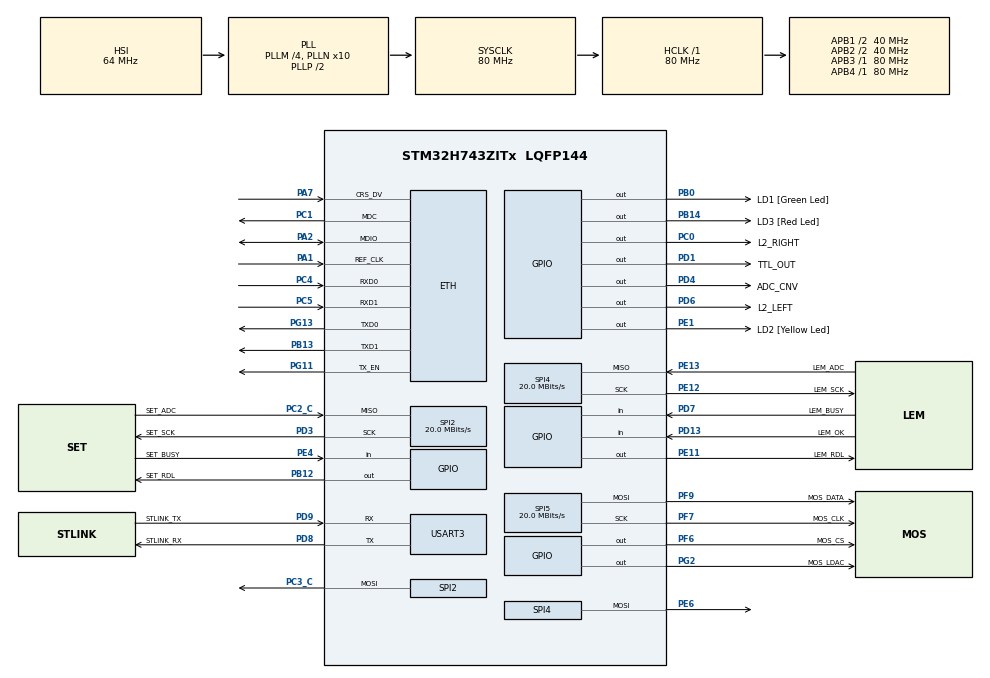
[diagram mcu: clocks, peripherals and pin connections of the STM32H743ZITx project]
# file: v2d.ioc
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CORTEX_M7.AccessPermission-Cortex_Memory_Protection_Unit_Region0_Settings=MPU_REGION_FULL_ACCESS
CORTEX_M7.AccessPermission-Cortex_Memory_Protection_Unit_Region1_Settings=MPU_REGION_FULL_ACCESS
CORTEX_M7.BaseAddress-Cortex_Memory_Protection_Unit_Region0_Settings=0x30040000
CORTEX_M7.BaseAddress-Cortex_Memory_Protection_Unit_Region1_Settings=0x30044000
CORTEX_M7.CPU_DCache=Enabled
CORTEX_M7.CPU_ICache=Enabled
CORTEX_M7.Enable-Cortex_Memory_Protection_Unit_Region0_Settings=MPU_REGION_ENABLE
CORTEX_M7.Enable-Cortex_Memory_Protection_Unit_Region1_Settings=MPU_REGION_ENABLE
CORTEX_M7.IsBufferable-Cortex_Memory_Protection_Unit_Region0_Settings=MPU_ACCESS_BUFFERABLE
CORTEX_M7.IsShareable-Cortex_Memory_Protection_Unit_Region1_Settings=MPU_ACCESS_SHAREABLE
CORTEX_M7.MPU_Control=MPU_PRIVILEGED_DEFAULT
CORTEX_M7.Size-Cortex_Memory_Protection_Unit_Region0_Settings=MPU_REGION_SIZE_256B
CORTEX_M7.Size-Cortex_Memory_Protection_Unit_Region1_Settings=MPU_REGION_SIZE_16KB
CORTEX_M7.TypeExtField-Cortex_Memory_Protection_Unit_Region1_Settings=MPU_TEX_LEVEL1
ETH.MACAddr=02\:00\:00\:00\:03\:20
ETH.MediaInterface=HAL_ETH_RMII_MODE
ETH.RxBuffAddress=0x30040200
LWIP.BSP.number=1
LWIP.GATEWAY_ADDRESS=000.000.000.000
LWIP.IP_ADDRESS=192.168.003.020
LWIP.LWIP_DHCP=0
LWIP.NETMASK_ADDRESS=255.255.255.000
LWIP.Version=v2.1.2_Cube
LWIP0.BSP.STBoard=false
LWIP0.BSP.api=BSP_COMPONENT_DRIVER
LWIP0.BSP.component=LAN8742
LWIP0.BSP.instance=LAN8742
LWIP0.BSP.name=Driver_PHY
LWIP0.BSP.solution=LAN8742
Mcu.Family=STM32H7
Mcu.Name=STM32H743ZITx
Mcu.Package=LQFP144
NVIC.ETH_IRQn=true\:5\:0\:true\:false\:true\:true\:true\:true
NVIC.PriorityGroup=NVIC_PRIORITYGROUP_4
NVIC.TIM6_DAC_IRQn=true\:15\:0\:false\:false\:true\:false\:true\:true
NVIC.TIM7_IRQn=true\:0\:0\:false\:false\:true\:true\:true\:true
NVIC.TimeBase=TIM6_DAC_IRQn
NVIC.TimeBaseIP=TIM6
PA1.GPIO_Speed=GPIO_SPEED_FREQ_HIGH
PA1.Mode=RMII
PA1.Signal=ETH_REF_CLK
PA2.GPIO_Speed=GPIO_SPEED_FREQ_HIGH
PA2.Mode=RMII
PA2.Signal=ETH_MDIO
PA7.GPIO_Speed=GPIO_SPEED_FREQ_HIGH
PA7.Mode=RMII
PA7.Signal=ETH_CRS_DV
PB0.GPIO_Label=LD1 [Green Led]
PB0.GPIO_Speed=GPIO_SPEED_FREQ_VERY_HIGH
PB0.Signal=GPIO_Output
PB12.GPIO_Label=SET_RDL
PB12.Signal=GPIO_Output
PB13.GPIO_Speed=GPIO_SPEED_FREQ_HIGH
PB13.Mode=RMII
PB13.Signal=ETH_TXD1
PB14.GPIO_Label=LD3 [Red Led]
PB14.GPIO_Speed=GPIO_SPEED_FREQ_VERY_HIGH
PB14.Signal=GPIO_Output
PC0.GPIO_Label=L2_RIGHT
PC0.Signal=GPIO_Output
PC1.GPIO_Speed=GPIO_SPEED_FREQ_HIGH
PC1.Mode=RMII
PC1.Signal=ETH_MDC
PC14-OSC32_IN\ (OSC32_IN).Mode=LSE-External-Clock-Source
PC14-OSC32_IN\ (OSC32_IN).Signal=RCC_OSC32_IN
PC2_C.GPIO_Label=SET_ADC
PC2_C.Mode=Full_Duplex_Master
PC2_C.Signal=SPI2_MISO
PC3_C.Mode=Full_Duplex_Master
PC3_C.Signal=SPI2_MOSI
PC4.GPIO_Speed=GPIO_SPEED_FREQ_HIGH
PC4.Mode=RMII
PC4.Signal=ETH_RXD0
PC5.GPIO_Speed=GPIO_SPEED_FREQ_HIGH
PC5.Mode=RMII
PC5.Signal=ETH_RXD1
PD1.GPIO_Label=TTL_OUT
PD1.Signal=GPIO_Output
PD13.GPIO_Label=LEM_OK
PD13.Signal=GPIO_Input
PD3.GPIO_Label=SET_SCK
PD3.Mode=Full_Duplex_Master
PD3.Signal=SPI2_SCK
PD4.GPIO_Label=ADC_CNV
PD4.Signal=GPIO_Output
PD6.GPIO_Label=L2_LEFT
PD6.Signal=GPIO_Output
PD7.GPIO_Label=LEM_BUSY
PD7.Signal=GPIO_Input
PD8.GPIO_Label=STLINK_RX
PD8.GPIO_Speed=GPIO_SPEED_FREQ_HIGH
PD8.Mode=Asynchronous
PD8.Signal=USART3_TX
PD9.GPIO_Label=STLINK_TX
PD9.GPIO_Speed=GPIO_SPEED_FREQ_HIGH
PD9.Mode=Asynchronous
PD9.Signal=USART3_RX
PE1.GPIO_Label=LD2 [Yellow Led]
PE1.GPIO_Speed=GPIO_SPEED_FREQ_VERY_HIGH
PE1.Signal=GPIO_Output
PE11.GPIO_Label=LEM_RDL
PE11.Signal=GPIO_Output
PE12.GPIO_Label=LEM_SCK
PE12.Mode=Full_Duplex_Master
PE12.Signal=SPI4_SCK
PE13.GPIO_Label=LEM_ADC
PE13.Mode=Full_Duplex_Master
PE13.Signal=SPI4_MISO
PE4.GPIO_Label=SET_BUSY
PE4.Signal=GPIO_Input
PE6.Mode=Full_Duplex_Master
PE6.Signal=SPI4_MOSI
PF6.GPIO_Label=MOS_CS
PF6.Signal=GPIO_Output
PF7.GPIO_Label=MOS_CLK
PF7.Mode=TX_Only_Simplex_Unidirect_Master
PF7.Signal=SPI5_SCK
PF9.GPIO_Label=MOS_DATA
PF9.Mode=TX_Only_Simplex_Unidirect_Master
PF9.Signal=SPI5_MOSI
PG11.GPIO_Speed=GPIO_SPEED_FREQ_HIGH
PG11.Mode=RMII
PG11.Signal=ETH_TX_EN
PG13.GPIO_Speed=GPIO_SPEED_FREQ_HIGH
PG13.Mode=RMII
PG13.Signal=ETH_TXD0
PG2.GPIO_Label=MOS_LDAC
PG2.Signal=GPIO_Output
PH0-OSC_IN\ (PH0).Signal=RCC_OSC_IN
ProjectManager.HeapSize=0x200
ProjectManager.StackSize=0x400
ProjectManager.TargetToolchain=STM32CubeIDE
RCC.ADCFreq_Value=150000000
RCC.APB1Freq_Value=40000000
RCC.APB2Freq_Value=40000000
RCC.APB3Freq_Value=80000000
RCC.APB4Freq_Value=80000000
RCC.CortexFreq_Value=80000000
RCC.D2PPRE1=RCC_APB1_DIV2
RCC.D2PPRE2=RCC_APB2_DIV2
RCC.DIVM1=4
RCC.DIVM2=4
RCC.DIVN1=10
RCC.DIVN2=9
RCC.DIVP2=1
RCC.HCLKFreq_Value=80000000
RCC.HSE_VALUE=8000000
RCC.PLL2FRACN=3072
RCC.PLL3FRACN=0
RCC.PLLFRACN=0
RCC.SYSCLKFreq_VALUE=80000000
RCC.SYSCLKSource=RCC_SYSCLKSOURCE_PLLCLK
RCC.USBFreq_Value=80000000
SPI2.BaudRatePrescaler=SPI_BAUDRATEPRESCALER_4
SPI2.CalculateBaudRate=20.0 MBits/s
SPI2.DataSize=SPI_DATASIZE_8BIT
SPI2.Direction=SPI_DIRECTION_2LINES
SPI2.Mode=SPI_MODE_MASTER
SPI2.VirtualType=VM_MASTER
SPI4.CalculateBaudRate=20.0 MBits/s
SPI4.DataSize=SPI_DATASIZE_8BIT
SPI4.Direction=SPI_DIRECTION_2LINES
SPI4.Mode=SPI_MODE_MASTER
SPI4.VirtualType=VM_MASTER
SPI5.CalculateBaudRate=20.0 MBits/s
SPI5.DataSize=SPI_DATASIZE_8BIT
SPI5.Direction=SPI_DIRECTION_2LINES_TXONLY
SPI5.Mode=SPI_MODE_MASTER
SPI5.VirtualType=VM_MASTER
TIM13.Prescaler=79
TIM7.Period=1000
TIM7.Prescaler=79
USART3.VirtualMode-Asynchronous=VM_ASYNC
VP_LWIP_VS_Enabled.Mode=Enabled
VP_SYS_VS_tim6.Mode=TIM6
VP_TIM13_VS_ClockSourceINT.Mode=Enable_Timer
VP_TIM7_VS_ClockSourceINT.Mode=Enable_Timer
board=NUCLEO-H743ZI2

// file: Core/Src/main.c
/* USER CODE BEGIN Header */
/**
  ******************************************************************************
  * @file           : main.c
  * @brief          : Main program body
  ******************************************************************************
  * @attention
  *
  * Copyright (c) 2022 STMicroelectronics.
  * All rights reserved.
  *
  * This software is licensed under terms that can be found in the LICENSE file
  * in the root directory of this software component.
  * If no LICENSE file comes with this software, it is provided AS-IS.
  *
  ******************************************************************************
  */
/* USER CODE END Header */
#include "main.h"
#include "lwip.h"

/* USER CODE BEGIN Includes */
//#include "lwip/sockets.h"          <----
//#include <string.h>
#include "tcpServerRAW.h"
//#include "tcpClientRAW.h"
#include "interface.h"
//#include <stdio.h>
//#include <stdlib.h>
/* USER CODE END Includes */

/* USER CODE BEGIN PD */
//#define PORT	5015          <----
/* USER CODE END PD */

SPI_HandleTypeDef hspi2;
SPI_HandleTypeDef hspi4;
SPI_HandleTypeDef hspi5;

TIM_HandleTypeDef htim7;
TIM_HandleTypeDef htim13;

UART_HandleTypeDef huart3;

/* USER CODE BEGIN PV */
//int sock, g;						<----
//struct sockaddr_in address;      <---
//err_t err = -1;					<----

char spi_buf_set[50], spi_buf_lem[50], spi_buf_mos[50];
double v_ref = 4.0;
const double LSB_ADC = (2 * 4.0)/pow(2, 24);
const uint32_t HALF_CODE = pow(2,24)/2;
const double LSB_DAC = 4.0/pow(2, 20);
double lem_v = 0;
double lem_A = 0;
double set_v = 0;
double in_set_v = 0;
double last_in_set_v = 0;
double set_A = 0;
double last_set_A = 0;
double mos_v = 0;
double err = 0;
double acc_err = 0;
double pid_out = 0;
double I = 0;

double get_adc_lem();
double get_adc_set();
double get_set_V();
double get_lem_A();
int need_change_sign = 0;
void set_dac_mos(double dac);
void send_single_adc_cnv();
void send_adc_cnvs(int n);
void SendBits(uint32_t data);
void HAL_Delay_us(uint16_t us);
uint32_t get_adc_set_raw();
uint32_t code_to_send(uint32_t);

/* USER CODE END PV */

void SystemClock_Config(void);
static void MPU_Config(void);
static void MX_GPIO_Init(void);
static void MX_USART3_UART_Init(void);
static void MX_TIM7_Init(void);
static void MX_SPI2_Init(void);
static void MX_SPI4_Init(void);
static void MX_SPI5_Init(void);
static void MX_TIM13_Init(void);

/* USER CODE BEGIN 0 */

extern struct netif gnetif;
extern parameters par;
int32_t raw;
/* USER CODE END 0 */

int main(void)
{

  /* MPU Configuration--------------------------------------------------------*/
  MPU_Config();

  /* Enable I-Cache---------------------------------------------------------*/
  SCB_EnableICache();

  /* Enable D-Cache---------------------------------------------------------*/
  SCB_EnableDCache();

  /* MCU Configuration--------------------------------------------------------*/

  /* Reset of all peripherals, Initializes the Flash interface and the Systick. */
  HAL_Init();

  /* Configure the system clock */
  SystemClock_Config();

  /* Initialize all configured peripherals */
  MX_GPIO_Init();
  MX_USART3_UART_Init();
  MX_LWIP_Init();
  MX_TIM7_Init();
  MX_SPI2_Init();
  MX_SPI4_Init();
  MX_SPI5_Init();
  MX_TIM13_Init();
  /* USER CODE BEGIN 2 */

  tcp_server_init();
  //tcp_client_init();
  tcp_server_init();
  initInterface();

  HAL_GPIO_WritePin(LEM_RDL_GPIO_Port, LEM_RDL_Pin, GPIO_PIN_SET);
  HAL_GPIO_WritePin(ADC_CNV_GPIO_Port, ADC_CNV_Pin, GPIO_PIN_RESET);
  HAL_GPIO_WritePin(LD1_GPIO_Port, LD1_Pin, GPIO_PIN_RESET);

  HAL_TIM_Base_Start_IT(&htim7);
  HAL_TIM_Base_Start(&htim13);

  /* USER CODE END 2 */

  /* Infinite loop */
  while (1)
  {

    /* USER CODE BEGIN 3 */
	  ethernetif_input(&gnetif);
	  sys_check_timeouts();

	}
  /* USER CODE END 3 */
}

void SystemClock_Config(void)
{
  RCC_OscInitTypeDef RCC_OscInitStruct = {0};
  RCC_ClkInitTypeDef RCC_ClkInitStruct = {0};

  /** Supply configuration update enable
  */
  HAL_PWREx_ConfigSupply(PWR_LDO_SUPPLY);
  /** Configure the main internal regulator output voltage
  */
  __HAL_PWR_VOLTAGESCALING_CONFIG(PWR_REGULATOR_VOLTAGE_SCALE3);

  while(!__HAL_PWR_GET_FLAG(PWR_FLAG_VOSRDY)) {}
  /** Initializes the RCC Oscillators according to the specified parameters
  * in the RCC_OscInitTypeDef structure.
  */
  RCC_OscInitStruct.OscillatorType = RCC_OSCILLATORTYPE_HSI;
  RCC_OscInitStruct.HSIState = RCC_HSI_DIV1;
  RCC_OscInitStruct.HSICalibrationValue = RCC_HSICALIBRATION_DEFAULT;
  RCC_OscInitStruct.PLL.PLLState = RCC_PLL_ON;
  RCC_OscInitStruct.PLL.PLLSource = RCC_PLLSOURCE_HSI;
  RCC_OscInitStruct.PLL.PLLM = 4;
  RCC_OscInitStruct.PLL.PLLN = 10;
  RCC_OscInitStruct.PLL.PLLP = 2;
  RCC_OscInitStruct.PLL.PLLQ = 2;
  RCC_OscInitStruct.PLL.PLLR = 2;
  RCC_OscInitStruct.PLL.PLLRGE = RCC_PLL1VCIRANGE_3;
  RCC_OscInitStruct.PLL.PLLVCOSEL = RCC_PLL1VCOMEDIUM;
  RCC_OscInitStruct.PLL.PLLFRACN = 0;
  if (HAL_RCC_OscConfig(&RCC_OscInitStruct) != HAL_OK)
  {
    Error_Handler();
  }
  /** Initializes the CPU, AHB and APB buses clocks
  */
  RCC_ClkInitStruct.ClockType = RCC_CLOCKTYPE_HCLK|RCC_CLOCKTYPE_SYSCLK
                              |RCC_CLOCKTYPE_PCLK1|RCC_CLOCKTYPE_PCLK2
                              |RCC_CLOCKTYPE_D3PCLK1|RCC_CLOCKTYPE_D1PCLK1;
  RCC_ClkInitStruct.SYSCLKSource = RCC_SYSCLKSOURCE_PLLCLK;
  RCC_ClkInitStruct.SYSCLKDivider = RCC_SYSCLK_DIV1;
  RCC_ClkInitStruct.AHBCLKDivider = RCC_HCLK_DIV1;
  RCC_ClkInitStruct.APB3CLKDivider = RCC_APB3_DIV1;
  RCC_ClkInitStruct.APB1CLKDivider = RCC_APB1_DIV2;
  RCC_ClkInitStruct.APB2CLKDivider = RCC_APB2_DIV2;
  RCC_ClkInitStruct.APB4CLKDivider = RCC_APB4_DIV1;

  if (HAL_RCC_ClockConfig(&RCC_ClkInitStruct, FLASH_LATENCY_1) != HAL_OK)
  {
    Error_Handler();
  }
}

static void MX_SPI2_Init(void)
{

  /* SPI2 parameter configuration*/
  hspi2.Instance = SPI2;
  hspi2.Init.Mode = SPI_MODE_MASTER;
  hspi2.Init.Direction = SPI_DIRECTION_2LINES;
  hspi2.Init.DataSize = SPI_DATASIZE_8BIT;
  hspi2.Init.CLKPolarity = SPI_POLARITY_LOW;
  hspi2.Init.CLKPhase = SPI_PHASE_1EDGE;
  hspi2.Init.NSS = SPI_NSS_SOFT;
  hspi2.Init.BaudRatePrescaler = SPI_BAUDRATEPRESCALER_4;
  hspi2.Init.FirstBit = SPI_FIRSTBIT_MSB;
  hspi2.Init.TIMode = SPI_TIMODE_DISABLE;
  hspi2.Init.CRCCalculation = SPI_CRCCALCULATION_DISABLE;
  hspi2.Init.CRCPolynomial = 0x0;
  hspi2.Init.NSSPMode = SPI_NSS_PULSE_ENABLE;
  hspi2.Init.NSSPolarity = SPI_NSS_POLARITY_LOW;
  hspi2.Init.FifoThreshold = SPI_FIFO_THRESHOLD_01DATA;
  hspi2.Init.TxCRCInitializationPattern = SPI_CRC_INITIALIZATION_ALL_ZERO_PATTERN;
  hspi2.Init.RxCRCInitializationPattern = SPI_CRC_INITIALIZATION_ALL_ZERO_PATTERN;
  hspi2.Init.MasterSSIdleness = SPI_MASTER_SS_IDLENESS_00CYCLE;
  hspi2.Init.MasterInterDataIdleness = SPI_MASTER_INTERDATA_IDLENESS_00CYCLE;
  hspi2.Init.MasterReceiverAutoSusp = SPI_MASTER_RX_AUTOSUSP_DISABLE;
  hspi2.Init.MasterKeepIOState = SPI_MASTER_KEEP_IO_STATE_DISABLE;
  hspi2.Init.IOSwap = SPI_IO_SWAP_DISABLE;
  if (HAL_SPI_Init(&hspi2) != HAL_OK)
  {
    Error_Handler();
  }

}

static void MX_SPI4_Init(void)
{

  /* SPI4 parameter configuration*/
  hspi4.Instance = SPI4;
  hspi4.Init.Mode = SPI_MODE_MASTER;
  hspi4.Init.Direction = SPI_DIRECTION_2LINES;
  hspi4.Init.DataSize = SPI_DATASIZE_8BIT;
  hspi4.Init.CLKPolarity = SPI_POLARITY_LOW;
  hspi4.Init.CLKPhase = SPI_PHASE_1EDGE;
  hspi4.Init.NSS = SPI_NSS_SOFT;
  hspi4.Init.BaudRatePrescaler = SPI_BAUDRATEPRESCALER_2;
  hspi4.Init.FirstBit = SPI_FIRSTBIT_MSB;
  hspi4.Init.TIMode = SPI_TIMODE_DISABLE;
  hspi4.Init.CRCCalculation = SPI_CRCCALCULATION_DISABLE;
  hspi4.Init.CRCPolynomial = 0x0;
  hspi4.Init.NSSPMode = SPI_NSS_PULSE_ENABLE;
  hspi4.Init.NSSPolarity = SPI_NSS_POLARITY_LOW;
  hspi4.Init.FifoThreshold = SPI_FIFO_THRESHOLD_01DATA;
  hspi4.Init.TxCRCInitializationPattern = SPI_CRC_INITIALIZATION_ALL_ZERO_PATTERN;
  hspi4.Init.RxCRCInitializationPattern = SPI_CRC_INITIALIZATION_ALL_ZERO_PATTERN;
  hspi4.Init.MasterSSIdleness = SPI_MASTER_SS_IDLENESS_00CYCLE;
  hspi4.Init.MasterInterDataIdleness = SPI_MASTER_INTERDATA_IDLENESS_00CYCLE;
  hspi4.Init.MasterReceiverAutoSusp = SPI_MASTER_RX_AUTOSUSP_DISABLE;
  hspi4.Init.MasterKeepIOState = SPI_MASTER_KEEP_IO_STATE_DISABLE;
  hspi4.Init.IOSwap = SPI_IO_SWAP_DISABLE;
  if (HAL_SPI_Init(&hspi4) != HAL_OK)
  {
    Error_Handler();
  }

}

static void MX_SPI5_Init(void)
{

  /* SPI5 parameter configuration*/
  hspi5.Instance = SPI5;
  hspi5.Init.Mode = SPI_MODE_MASTER;
  hspi5.Init.Direction = SPI_DIRECTION_2LINES_TXONLY;
  hspi5.Init.DataSize = SPI_DATASIZE_8BIT;
  hspi5.Init.CLKPolarity = SPI_POLARITY_LOW;
  hspi5.Init.CLKPhase = SPI_PHASE_1EDGE;
  hspi5.Init.NSS = SPI_NSS_SOFT;
  hspi5.Init.BaudRatePrescaler = SPI_BAUDRATEPRESCALER_2;
  hspi5.Init.FirstBit = SPI_FIRSTBIT_MSB;
  hspi5.Init.TIMode = SPI_TIMODE_DISABLE;
  hspi5.Init.CRCCalculation = SPI_CRCCALCULATION_DISABLE;
  hspi5.Init.CRCPolynomial = 0x0;
  hspi5.Init.NSSPMode = SPI_NSS_PULSE_ENABLE;
  hspi5.Init.NSSPolarity = SPI_NSS_POLARITY_LOW;
  hspi5.Init.FifoThreshold = SPI_FIFO_THRESHOLD_01DATA;
  hspi5.Init.TxCRCInitializationPattern = SPI_CRC_INITIALIZATION_ALL_ZERO_PATTERN;
  hspi5.Init.RxCRCInitializationPattern = SPI_CRC_INITIALIZATION_ALL_ZERO_PATTERN;
  hspi5.Init.MasterSSIdleness = SPI_MASTER_SS_IDLENESS_00CYCLE;
  hspi5.Init.MasterInterDataIdleness = SPI_MASTER_INTERDATA_IDLENESS_00CYCLE;
  hspi5.Init.MasterReceiverAutoSusp = SPI_MASTER_RX_AUTOSUSP_DISABLE;
  hspi5.Init.MasterKeepIOState = SPI_MASTER_KEEP_IO_STATE_DISABLE;
  hspi5.Init.IOSwap = SPI_IO_SWAP_DISABLE;
  if (HAL_SPI_Init(&hspi5) != HAL_OK)
  {
    Error_Handler();
  }

}

static void MX_TIM7_Init(void)
{

  TIM_MasterConfigTypeDef sMasterConfig = {0};

  htim7.Instance = TIM7;
  htim7.Init.Prescaler = 79;
  htim7.Init.CounterMode = TIM_COUNTERMODE_UP;
  htim7.Init.Period = 1000;
  htim7.Init.AutoReloadPreload = TIM_AUTORELOAD_PRELOAD_DISABLE;
  if (HAL_TIM_Base_Init(&htim7) != HAL_OK)
  {
    Error_Handler();
  }
  sMasterConfig.MasterOutputTrigger = TIM_TRGO_RESET;
  sMasterConfig.MasterSlaveMode = TIM_MASTERSLAVEMODE_DISABLE;
  if (HAL_TIMEx_MasterConfigSynchronization(&htim7, &sMasterConfig) != HAL_OK)
  {
    Error_Handler();
  }

}

static void MX_TIM13_Init(void)
{

  htim13.Instance = TIM13;
  htim13.Init.Prescaler = 79;
  htim13.Init.CounterMode = TIM_COUNTERMODE_UP;
  htim13.Init.Period = 65535;
  htim13.Init.ClockDivision = TIM_CLOCKDIVISION_DIV1;
  htim13.Init.AutoReloadPreload = TIM_AUTORELOAD_PRELOAD_DISABLE;
  if (HAL_TIM_Base_Init(&htim13) != HAL_OK)
  {
    Error_Handler();
  }

}

static void MX_USART3_UART_Init(void)
{

  huart3.Instance = USART3;
  huart3.Init.BaudRate = 115200;
  huart3.Init.WordLength = UART_WORDLENGTH_8B;
  huart3.Init.StopBits = UART_STOPBITS_1;
  huart3.Init.Parity = UART_PARITY_NONE;
  huart3.Init.Mode = UART_MODE_TX_RX;
  huart3.Init.HwFlowCtl = UART_HWCONTROL_NONE;
  huart3.Init.OverSampling = UART_OVERSAMPLING_16;
  huart3.Init.OneBitSampling = UART_ONE_BIT_SAMPLE_DISABLE;
  huart3.Init.ClockPrescaler = UART_PRESCALER_DIV1;
  huart3.AdvancedInit.AdvFeatureInit = UART_ADVFEATURE_NO_INIT;
  if (HAL_UART_Init(&huart3) != HAL_OK)
  {
    Error_Handler();
  }
  if (HAL_UARTEx_SetTxFifoThreshold(&huart3, UART_TXFIFO_THRESHOLD_1_8) != HAL_OK)
  {
    Error_Handler();
  }
  if (HAL_UARTEx_SetRxFifoThreshold(&huart3, UART_RXFIFO_THRESHOLD_1_8) != HAL_OK)
  {
    Error_Handler();
  }
  if (HAL_UARTEx_DisableFifoMode(&huart3) != HAL_OK)
  {
    Error_Handler();
  }

}

static void MX_GPIO_Init(void)
{
  GPIO_InitTypeDef GPIO_InitStruct = {0};

  /* GPIO Ports Clock Enable */
  __HAL_RCC_GPIOE_CLK_ENABLE();
  __HAL_RCC_GPIOC_CLK_ENABLE();
  __HAL_RCC_GPIOF_CLK_ENABLE();
  __HAL_RCC_GPIOH_CLK_ENABLE();
  __HAL_RCC_GPIOA_CLK_ENABLE();
  __HAL_RCC_GPIOB_CLK_ENABLE();
  __HAL_RCC_GPIOD_CLK_ENABLE();
  __HAL_RCC_GPIOG_CLK_ENABLE();

  /*Configure GPIO pin Output Level */
  HAL_GPIO_WritePin(MOS_CS_GPIO_Port, MOS_CS_Pin, GPIO_PIN_RESET);

  /*Configure GPIO pin Output Level */
  HAL_GPIO_WritePin(L2_RIGHT_GPIO_Port, L2_RIGHT_Pin, GPIO_PIN_RESET);

  /*Configure GPIO pin Output Level */
  HAL_GPIO_WritePin(GPIOB, LD1_Pin|SET_RDL_Pin|LD3_Pin, GPIO_PIN_RESET);

  /*Configure GPIO pin Output Level */
  HAL_GPIO_WritePin(GPIOE, LEM_RDL_Pin|LD2_Pin, GPIO_PIN_RESET);

  /*Configure GPIO pin Output Level */
  HAL_GPIO_WritePin(MOS_LDAC_GPIO_Port, MOS_LDAC_Pin, GPIO_PIN_RESET);

  /*Configure GPIO pin Output Level */
  HAL_GPIO_WritePin(GPIOD, TTL_OUT_Pin|ADC_CNV_Pin|L2_LEFT_Pin, GPIO_PIN_RESET);

  /*Configure GPIO pin : SET_BUSY_Pin */
  GPIO_InitStruct.Pin = SET_BUSY_Pin;
  GPIO_InitStruct.Mode = GPIO_MODE_INPUT;
  GPIO_InitStruct.Pull = GPIO_NOPULL;
  HAL_GPIO_Init(SET_BUSY_GPIO_Port, &GPIO_InitStruct);

  /*Configure GPIO pin : MOS_CS_Pin */
  GPIO_InitStruct.Pin = MOS_CS_Pin;
  GPIO_InitStruct.Mode = GPIO_MODE_OUTPUT_PP;
  GPIO_InitStruct.Pull = GPIO_NOPULL;
  GPIO_InitStruct.Speed = GPIO_SPEED_FREQ_LOW;
  HAL_GPIO_Init(MOS_CS_GPIO_Port, &GPIO_InitStruct);

  /*Configure GPIO pin : L2_RIGHT_Pin */
  GPIO_InitStruct.Pin = L2_RIGHT_Pin;
  GPIO_InitStruct.Mode = GPIO_MODE_OUTPUT_PP;
  GPIO_InitStruct.Pull = GPIO_NOPULL;
  GPIO_InitStruct.Speed = GPIO_SPEED_FREQ_LOW;
  HAL_GPIO_Init(L2_RIGHT_GPIO_Port, &GPIO_InitStruct);

  /*Configure GPIO pins : LD1_Pin LD3_Pin */
  GPIO_InitStruct.Pin = LD1_Pin|LD3_Pin;
  GPIO_InitStruct.Mode = GPIO_MODE_OUTPUT_PP;
  GPIO_InitStruct.Pull = GPIO_NOPULL;
  GPIO_InitStruct.Speed = GPIO_SPEED_FREQ_VERY_HIGH;
  HAL_GPIO_Init(GPIOB, &GPIO_InitStruct);

  /*Configure GPIO pin : LEM_RDL_Pin */
  GPIO_InitStruct.Pin = LEM_RDL_Pin;
  GPIO_InitStruct.Mode = GPIO_MODE_OUTPUT_PP;
  GPIO_InitStruct.Pull = GPIO_NOPULL;
  GPIO_InitStruct.Speed = GPIO_SPEED_FREQ_LOW;
  HAL_GPIO_Init(LEM_RDL_GPIO_Port, &GPIO_InitStruct);

  /*Configure GPIO pin : SET_RDL_Pin */
  GPIO_InitStruct.Pin = SET_RDL_Pin;
  GPIO_InitStruct.Mode = GPIO_MODE_OUTPUT_PP;
  GPIO_InitStruct.Pull = GPIO_NOPULL;
  GPIO_InitStruct.Speed = GPIO_SPEED_FREQ_LOW;
  HAL_GPIO_Init(SET_RDL_GPIO_Port, &GPIO_InitStruct);

  /*Configure GPIO pins : LEM_OK_Pin LEM_BUSY_Pin */
  GPIO_InitStruct.Pin = LEM_OK_Pin|LEM_BUSY_Pin;
  GPIO_InitStruct.Mode = GPIO_MODE_INPUT;
  GPIO_InitStruct.Pull = GPIO_NOPULL;
  HAL_GPIO_Init(GPIOD, &GPIO_InitStruct);

  /*Configure GPIO pin : MOS_LDAC_Pin */
  GPIO_InitStruct.Pin = MOS_LDAC_Pin;
  GPIO_InitStruct.Mode = GPIO_MODE_OUTPUT_PP;
  GPIO_InitStruct.Pull = GPIO_NOPULL;
  GPIO_InitStruct.Speed = GPIO_SPEED_FREQ_LOW;
  HAL_GPIO_Init(MOS_LDAC_GPIO_Port, &GPIO_InitStruct);

  /*Configure GPIO pins : TTL_OUT_Pin ADC_CNV_Pin L2_LEFT_Pin */
  GPIO_InitStruct.Pin = TTL_OUT_Pin|ADC_CNV_Pin|L2_LEFT_Pin;
  GPIO_InitStruct.Mode = GPIO_MODE_OUTPUT_PP;
  GPIO_InitStruct.Pull = GPIO_NOPULL;
  GPIO_InitStruct.Speed = GPIO_SPEED_FREQ_LOW;
  HAL_GPIO_Init(GPIOD, &GPIO_InitStruct);

  /*Configure GPIO pin : LD2_Pin */
  GPIO_InitStruct.Pin = LD2_Pin;
  GPIO_InitStruct.Mode = GPIO_MODE_OUTPUT_PP;
  GPIO_InitStruct.Pull = GPIO_NOPULL;
  GPIO_InitStruct.Speed = GPIO_SPEED_FREQ_VERY_HIGH;
  HAL_GPIO_Init(LD2_GPIO_Port, &GPIO_InitStruct);

}

/* USER CODE BEGIN 4 */

void send_single_adc_cnv(){
	HAL_GPIO_WritePin(ADC_CNV_GPIO_Port, ADC_CNV_Pin, GPIO_PIN_SET);
	__NOP();
	HAL_GPIO_WritePin(ADC_CNV_GPIO_Port, ADC_CNV_Pin, GPIO_PIN_RESET);
//	for (int i = 0; i < 6; i++) {
//		__NOP();
//	}
}

void send_adc_cnvs(int n){
	for (int i =0; i<n; i++){
		send_single_adc_cnv();
	}
}

double get_adc_lem(){

	uint32_t code = 0x000000;
	double adc_val;

//	HAL_GPIO_WritePin(ADC_CNV_GPIO_Port, ADC_CNV_Pin, GPIO_PIN_SET);
//	HAL_GPIO_WritePin(LEM_RDL_GPIO_Port, LEM_RDL_Pin, GPIO_PIN_RESET);

	 for (int i = 0; i < 10; i++) {
	        __NOP();
	    }

	 while (HAL_GPIO_ReadPin(LEM_BUSY_GPIO_Port, LEM_BUSY_Pin) == GPIO_PIN_SET) {
	         // Czekaj na zakończenie konwersji
	     }
//	 HAL_GPIO_WritePin(ADC_CNV_GPIO_Port, ADC_CNV_Pin, GPIO_PIN_RESET);
	 HAL_GPIO_WritePin(LEM_RDL_GPIO_Port, LEM_RDL_Pin, GPIO_PIN_RESET);

	HAL_SPI_Receive(&hspi4, (uint8_t*)spi_buf_lem, 3, 200);
	HAL_GPIO_WritePin(LEM_RDL_GPIO_Port, LEM_RDL_Pin, GPIO_PIN_SET);

	((uint8_t *)&code)[2] = (unsigned int)spi_buf_lem[0];
	((uint8_t *)&code)[1] = (unsigned int)spi_buf_lem[1];
	((uint8_t *)&code)[0] = (unsigned int)spi_buf_lem[2];

	adc_val = code* LSB_ADC;
	if(code >= HALF_CODE){
		adc_val -= 2*v_ref;
	}
//	adc_val = adc_val/0.377 + 0.04;
//	adc_val = (adc_val/0.377)*1000;

//	HAL_GPIO_WritePin(LD1_GPIO_Port, LD1_Pin, GPIO_PIN_RESET);
	return adc_val;

}

uint32_t get_adc_set_raw(){

//	char msg[100];
	uint32_t code = 0x000000;

	while (HAL_GPIO_ReadPin(SET_BUSY_GPIO_Port, SET_BUSY_Pin) == GPIO_PIN_SET) {}

	HAL_GPIO_WritePin(SET_RDL_GPIO_Port, SET_RDL_Pin, GPIO_PIN_RESET);

	HAL_SPI_Receive(&hspi2, (uint8_t*)spi_buf_set, 3, 100);
	HAL_GPIO_WritePin(SET_RDL_GPIO_Port, SET_RDL_Pin, GPIO_PIN_SET);

	((uint8_t *)&code)[2] = (unsigned int)spi_buf_set[0];
	((uint8_t *)&code)[1] = (unsigned int)spi_buf_set[1];
	((uint8_t *)&code)[0] = (unsigned int)spi_buf_set[2];

	return code;
}

uint32_t code_to_send(uint32_t code){
	uint32_t out = 0;
	if(code >= HALF_CODE){
		out = (~code) << 1 | 0b1;
	}else{
		out = (code) << 1 ;
	}
	if (par.neg.val==1){
		out = out | 0b1;
	}
	return out;
}

double get_adc_set(){
	char msg[100];
	int adc_val_int=0;

	uint32_t code = 0x000000;
	double adc_val;

	while (HAL_GPIO_ReadPin(SET_BUSY_GPIO_Port, SET_BUSY_Pin) == GPIO_PIN_SET) {
	    }

	HAL_GPIO_WritePin(SET_RDL_GPIO_Port, SET_RDL_Pin, GPIO_PIN_RESET);

	HAL_SPI_Receive(&hspi2, (uint8_t*)spi_buf_set, 3, 100);
	HAL_GPIO_WritePin(SET_RDL_GPIO_Port, SET_RDL_Pin, GPIO_PIN_SET);

	((uint8_t *)&code)[2] = (unsigned int)spi_buf_set[0];
	((uint8_t *)&code)[1] = (unsigned int)spi_buf_set[1];
	((uint8_t *)&code)[0] = (unsigned int)spi_buf_set[2];

	adc_val = code* LSB_ADC;
	if(code >= HALF_CODE){
		adc_val -= 2*v_ref;
	}
	return adc_val;
}

double get_set_V(){
	set_v = get_adc_set();
	return (set_v - 0.007) * 3.316;
}

double get_lem_A(){
	lem_v = get_adc_lem();
//	return lem_v*30.77-0.15;
	return (lem_v - 0.00478 )*41.363;
}

void set_dac_mos(double dac){
	uint32_t code;

	HAL_GPIO_WritePin(MOS_LDAC_GPIO_Port, MOS_LDAC_Pin, GPIO_PIN_SET);
	dac = dac/2;
	if(dac > v_ref){
		dac = v_ref;
	}else if(dac < 0.0){
		dac = 0.0;
	}
	code = round(dac/LSB_DAC);
	code = code << 4;		// 4 bits shift to left to have 24 bits

	spi_buf_mos[0] = ((uint8_t*)&code)[2];
	spi_buf_mos[1] = ((uint8_t*)&code)[1];
	spi_buf_mos[2] = ((uint8_t*)&code)[0];

	HAL_GPIO_WritePin(MOS_CS_GPIO_Port, MOS_CS_Pin, GPIO_PIN_RESET);
	HAL_SPI_Transmit(&hspi5, (uint8_t*)&spi_buf_mos, 3, 100);
	HAL_GPIO_WritePin(MOS_CS_GPIO_Port, MOS_CS_Pin, GPIO_PIN_SET);

	// update output
	for(int i=0;i<8;i++);	//to make at least 20 ns delay
	HAL_GPIO_WritePin(MOS_LDAC_GPIO_Port, MOS_LDAC_Pin, GPIO_PIN_RESET);
}

void SendBits(uint32_t data){
//	uint16_t d_us =
	HAL_GPIO_WritePin(TTL_OUT_GPIO_Port, TTL_OUT_Pin, GPIO_PIN_SET);
	HAL_Delay_us(20);
	HAL_GPIO_WritePin(TTL_OUT_GPIO_Port, TTL_OUT_Pin, GPIO_PIN_RESET);
	HAL_Delay_us(20);

	for (int i = 0; i<25; i++){
		if ((data >> i) & 0x1){
			HAL_GPIO_WritePin(TTL_OUT_GPIO_Port, TTL_OUT_Pin, GPIO_PIN_SET);
		}
		else{
			HAL_GPIO_WritePin(TTL_OUT_GPIO_Port, TTL_OUT_Pin, GPIO_PIN_RESET);
		}
		HAL_Delay_us(20);
	}
	HAL_GPIO_WritePin(TTL_OUT_GPIO_Port, TTL_OUT_Pin, GPIO_PIN_RESET);
}

void HAL_Delay_us(uint16_t us)
{
	for (uint32_t i = 0; i < us * 9; i++) {}
}

/* USER CODE END 4 */

/* MPU Configuration */

void MPU_Config(void)
{
  MPU_Region_InitTypeDef MPU_InitStruct = {0};

  /* Disables the MPU */
  HAL_MPU_Disable();
  /** Initializes and configures the Region and the memory to be protected
  */
  MPU_InitStruct.Enable = MPU_REGION_ENABLE;
  MPU_InitStruct.Number = MPU_REGION_NUMBER0;
  MPU_InitStruct.BaseAddress = 0x30040000;
  MPU_InitStruct.Size = MPU_REGION_SIZE_256B;
  MPU_InitStruct.SubRegionDisable = 0x0;
  MPU_InitStruct.TypeExtField = MPU_TEX_LEVEL0;
  MPU_InitStruct.AccessPermission = MPU_REGION_FULL_ACCESS;
  MPU_InitStruct.DisableExec = MPU_INSTRUCTION_ACCESS_ENABLE;
  MPU_InitStruct.IsShareable = MPU_ACCESS_NOT_SHAREABLE;
  MPU_InitStruct.IsCacheable = MPU_ACCESS_NOT_CACHEABLE;
  MPU_InitStruct.IsBufferable = MPU_ACCESS_BUFFERABLE;

  HAL_MPU_ConfigRegion(&MPU_InitStruct);
  /** Initializes and configures the Region and the memory to be protected
  */
  MPU_InitStruct.Number = MPU_REGION_NUMBER1;
  MPU_InitStruct.BaseAddress = 0x30044000;
  MPU_InitStruct.Size = MPU_REGION_SIZE_16KB;
  MPU_InitStruct.TypeExtField = MPU_TEX_LEVEL1;
  MPU_InitStruct.IsShareable = MPU_ACCESS_SHAREABLE;
  MPU_InitStruct.IsBufferable = MPU_ACCESS_NOT_BUFFERABLE;

  HAL_MPU_ConfigRegion(&MPU_InitStruct);
  /* Enables the MPU */
  HAL_MPU_Enable(MPU_PRIVILEGED_DEFAULT);

}

void HAL_TIM_PeriodElapsedCallback(TIM_HandleTypeDef *htim)
{
  if (htim->Instance == TIM6) {
    HAL_IncTick();
  }
  /* USER CODE BEGIN Callback 1 */
  if (htim->Instance == TIM7) {
	  uint32_t to_send = 0;
	  uint32_t code = 0;
	  HAL_GPIO_WritePin(LD1_GPIO_Port, LD1_Pin, SET);

	  send_adc_cnvs(10);
	  if (par.mode.val == 1){
		  code = (int32_t)par.setv.val;
	  }else{
		  code = get_adc_set_raw();
	  }
	  par.setv.val = code;
	  par.ts.val = code_to_send(code);
	  SendBits(par.ts.val);

	  HAL_GPIO_WritePin(LD1_GPIO_Port, LD1_Pin, RESET);
    }
  /* USER CODE END Callback 1 */
}

void Error_Handler(void)
{
  __disable_irq();
  while (1)
  {
  }
}
